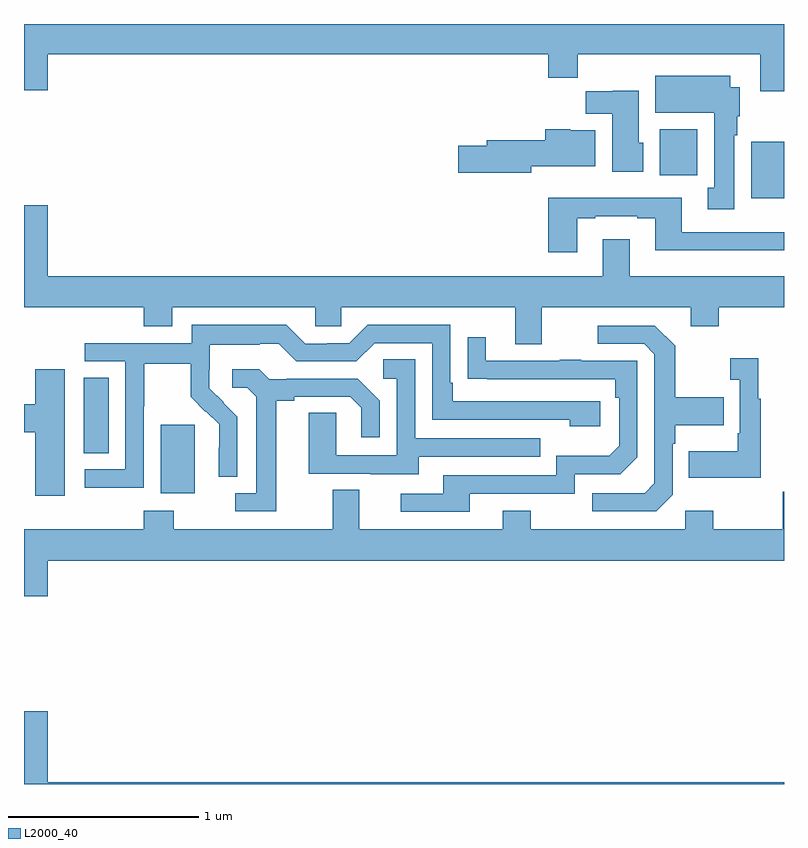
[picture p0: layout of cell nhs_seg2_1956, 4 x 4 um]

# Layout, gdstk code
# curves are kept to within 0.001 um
import gdstk
lib = gdstk.Library(unit=1e-6, precision=1e-09)
def R(c, l, rs):  # rectangles x0, y0, x1, y1
    for r in rs: c.add(gdstk.rectangle(r[:2], r[2:], *l))
def P(c, l, *ps):  # polygons
    for p in ps: c.add(gdstk.Polygon(p, *l))
L2000_40 = (2000, 40)

nhs_seg2_1956 = lib.new_cell('nhs_seg2_1956')
R(nhs_seg2_1956, L2000_40, [(213.719,641.33,213.898,641.691), (213.314,641.542,213.445,641.939), (216.827,642.884,217,643.18), (216.347,643.004,216.544,643.246)])
P(nhs_seg2_1956, L2000_40, [(217,643.8),(213,643.8),(213,643.452),(213.124,643.452),(213.124,643.64),(215.759,643.64),(215.759,643.516),(215.915,643.516),(215.915,643.64),(216.875,643.64),(216.875,643.446),(217,643.446)],
  [(216.739,643.214),(216.754,643.214),(216.754,643.314),(216.766,643.314),(216.766,643.468),(216.718,643.468),(216.718,643.528),(216.323,643.528),(216.323,643.334),(216.632,643.334),(216.632,642.938),(216.599,642.938),(216.599,642.825),(216.739,642.825)],
  [(216.259,643.176),(216.235,643.176),(216.235,643.45),(216.099,643.45),(216.099,643.446),(215.956,643.446),(215.956,643.328),(216.095,643.328),(216.095,643.022),(216.259,643.022)],
  [(215.67,643.052),(216.007,643.052),(216.007,643.24),(215.874,643.24),(215.874,643.246),(215.744,643.246),(215.744,643.188),(215.435,643.188),(215.435,643.158),(215.286,643.158),(215.286,643.016),(215.67,643.016)],
  [(215.911,642.777),(216.007,642.777),(216.007,642.789),(216.227,642.789),(216.227,642.777),(216.323,642.777),(216.323,642.608),(217,642.608),(217,642.705),(216.463,642.705),(216.463,642.886),(215.759,642.886),(215.759,642.6),(215.911,642.6)],
  [(215.725,642.308),(216.509,642.308),(216.509,642.209),(216.657,642.209),(216.657,642.308),(217,642.308),(217,642.472),(216.187,642.472),(216.187,642.667),(216.047,642.667),(216.047,642.472),(213.124,642.472),(213.124,642.847),(213,642.847),(213,642.308),(213.629,642.308),(213.629,642.209),(213.781,642.209),(213.781,642.308),(214.533,642.308),(214.533,642.21),(214.671,642.21),(214.671,642.308),(215.585,642.308),(215.585,642.114),(215.725,642.114)],
  [(213.63,641.788),(213.633,641.788),(213.633,642.012),(213.877,642.012),(213.877,641.837),(213.954,641.76),(213.957,641.763),(214.028,641.693),(214.028,641.57),(214.026,641.57),(214.026,641.416),(214.122,641.416),(214.122,641.734),(213.976,641.882),(213.976,641.979),(213.978,641.979),(213.978,642.113),(214.241,642.113),(214.241,642.117),(214.341,642.117),(214.434,642.024),(214.749,642.024),(214.845,642.12),(215.148,642.12),(215.148,641.718),(215.873,641.718),(215.873,641.684),(216.034,641.684),(216.034,641.814),(215.257,641.814),(215.257,641.911),(215.244,641.911),(215.244,642.216),(214.809,642.216),(214.713,642.12),(214.595,642.12),(214.595,642.117),(214.479,642.117),(214.379,642.217),(213.882,642.217),(213.882,642.12),(213.321,642.12),(213.321,642.024),(213.534,642.024),(213.534,641.457),(213.321,641.457),(213.321,641.359),(213.63,641.359)],
  [(216.414,641.322),(216.414,641.591),(216.427,641.591),(216.427,641.687),(216.683,641.687),(216.683,641.835),(216.427,641.835),(216.427,642.107),(216.321,642.213),(216.021,642.213),(216.021,642.117),(216.264,642.117),(216.318,642.063),(216.318,641.382),(216.267,641.331),(215.991,641.331),(215.991,641.235),(216.327,641.235)],
  [(215.347,641.328),(215.898,641.328),(215.898,641.43),(216.138,641.43),(216.228,641.52),(216.228,642.027),(215.933,642.027),(215.933,642.032),(215.821,642.032),(215.821,642.027),(215.431,642.027),(215.431,642.151),(215.335,642.151),(215.335,641.932),(216.112,641.931),(216.112,641.834),(216.132,641.834),(216.132,641.58),(216.079,641.527),(215.802,641.527),(215.802,641.424),(215.207,641.424),(215.207,641.328),(214.983,641.328),(214.983,641.232),(215.347,641.232)],
  [(216.877,641.827),(216.865,641.827),(216.865,642.04),(216.717,642.04),(216.717,641.927),(216.768,641.927),(216.768,641.647),(216.756,641.647),(216.756,641.551),(216.499,641.551),(216.499,641.411),(216.877,641.411)],
  [(215.077,641.523),(215.717,641.523),(215.717,641.619),(215.058,641.619),(215.058,642.035),(214.89,642.035),(214.89,641.934),(214.962,641.934),(214.962,641.529),(214.644,641.529),(214.644,641.753),(214.499,641.753),(214.499,641.433),(214.823,641.433),(214.823,641.429),(215.077,641.429)],
  [(213.214,641.983),(213.059,641.983),(213.059,641.798),(213,641.798),(213,641.651),(213.059,641.651),(213.059,641.316),(213.214,641.316)],
  [(214.327,641.816),(214.423,641.816),(214.423,641.838),(214.718,641.838),(214.775,641.781),(214.775,641.625),(214.872,641.625),(214.872,641.818),(214.756,641.934),(214.384,641.934),(214.384,641.931),(214.29,641.931),(214.238,641.983),(214.095,641.983),(214.095,641.886),(214.176,641.886),(214.223,641.839),(214.223,641.331),(214.113,641.331),(214.113,641.235),(214.327,641.235)],
  [(213.124,640.976),(217,640.976),(217,641.339),(216.994,641.339),(216.994,641.14),(216.627,641.14),(216.627,641.239),(216.48,641.239),(216.48,641.14),(215.667,641.14),(215.667,641.239),(215.519,641.239),(215.519,641.14),(214.765,641.14),(214.765,641.348),(214.625,641.348),(214.625,641.14),(213.789,641.14),(213.789,641.239),(213.629,641.239),(213.629,641.14),(213,641.14),(213,640.788),(213.124,640.788)],
  [(217,639.808),(213.124,639.808),(213.124,640.183),(213,640.183),(213,639.8),(217,639.8)])

lib.write_gds('nhs_seg2_1956.gds')
